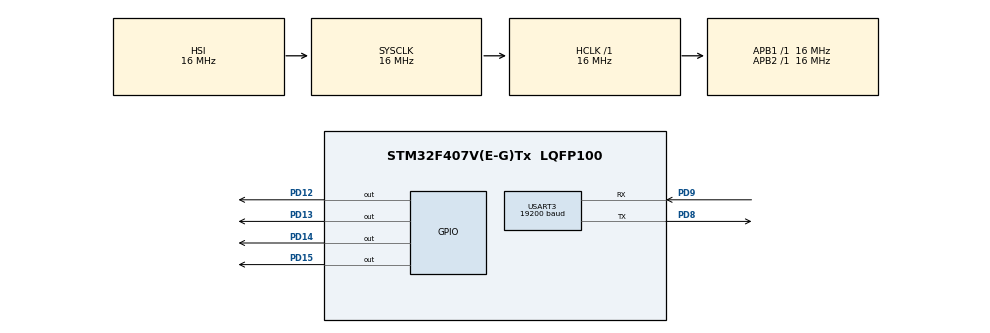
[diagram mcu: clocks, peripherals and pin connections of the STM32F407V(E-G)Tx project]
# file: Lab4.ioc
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Mcu.Family=STM32F4
Mcu.Name=STM32F407V(E-G)Tx
Mcu.Package=LQFP100
NVIC.PriorityGroup=NVIC_PRIORITYGROUP_4
PD12.Signal=GPIO_Output
PD13.Signal=GPIO_Output
PD14.Signal=GPIO_Output
PD15.Signal=GPIO_Output
PD8.Mode=Asynchronous
PD8.Signal=USART3_TX
PD9.Mode=Asynchronous
PD9.Signal=USART3_RX
ProjectManager.HeapSize=0x200
ProjectManager.StackSize=0x400
ProjectManager.TargetToolchain=STM32CubeIDE
RCC.AHBFreq_Value=16000000
RCC.APB1Freq_Value=16000000
RCC.APB2Freq_Value=16000000
RCC.CortexFreq_Value=16000000
RCC.HSE_VALUE=25000000
RCC.HSI_VALUE=16000000
RCC.LSE_VALUE=32768
RCC.SYSCLKFreq_VALUE=16000000
RCC.VCOOutputFreq_Value=192000000
USART3.BaudRate=19200
USART3.VirtualMode=VM_ASYNC
board=custom

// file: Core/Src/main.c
/* USER CODE BEGIN Header */
/**
  ******************************************************************************
  * @file           : main.c
  * @brief          : Main program body
  ******************************************************************************
  * @attention
  *
  * Copyright (c) 2024 STMicroelectronics.
  * All rights reserved.
  *
  * This software is licensed under terms that can be found in the LICENSE file
  * in the root directory of this software component.
  * If no LICENSE file comes with this software, it is provided AS-IS.
  *
  ******************************************************************************
  */
/* USER CODE END Header */
#include "main.h"

UART_HandleTypeDef huart3;

void SystemClock_Config(void);
static void MX_GPIO_Init(void);
static void MX_USART3_UART_Init(void);

int main(void)
{

  /* MCU Configuration--------------------------------------------------------*/

  /* Reset of all peripherals, Initializes the Flash interface and the Systick. */
  HAL_Init();

  /* Configure the system clock */
  SystemClock_Config();

  /* Initialize all configured peripherals */
  MX_GPIO_Init();
  MX_USART3_UART_Init();

  /* Infinite loop */
  /* USER CODE BEGIN WHILE */
  while (1)
  {
	  uint8_t buffer[1];
	  HAL_StatusTypeDef result;
	  result = HAL_UART_Receive(&huart3, buffer, 1, 10);
	  if (result == HAL_OK) {
		  GPIO_PinState state;
		  switch (buffer[0]){
			  case '1':
				  state = HAL_GPIO_ReadPin(GPIOD, GPIO_PIN_12);
				  if (state == GPIO_PIN_RESET) {
					  HAL_GPIO_WritePin(GPIOD, GPIO_PIN_12, GPIO_PIN_SET);
					  HAL_UART_Transmit(&huart3, (uint8_t *)" - green +\r\n", 12, 100);
				  } else {
					  HAL_GPIO_WritePin(GPIOD, GPIO_PIN_12, GPIO_PIN_RESET);
					  HAL_UART_Transmit(&huart3, (uint8_t *)" - green -\r\n", 12, 100);
				  }
				  break;
			  case '2':
				  state = HAL_GPIO_ReadPin(GPIOD, GPIO_PIN_13);
				  if (state == GPIO_PIN_RESET) {
					  HAL_GPIO_WritePin(GPIOD, GPIO_PIN_13, GPIO_PIN_SET);
					  HAL_UART_Transmit(&huart3, (uint8_t *)" - orange +\r\n", 13, 100);
				  } else {
					  HAL_GPIO_WritePin(GPIOD, GPIO_PIN_13, GPIO_PIN_RESET);
					  HAL_UART_Transmit(&huart3, (uint8_t *)" - orange -\r\n", 13, 100);
				  }
				  break;
			  case '3':
				  state = HAL_GPIO_ReadPin(GPIOD, GPIO_PIN_14);
				  if (state == GPIO_PIN_RESET) {
					  HAL_GPIO_WritePin(GPIOD, GPIO_PIN_14, GPIO_PIN_SET);
					  HAL_UART_Transmit(&huart3, (uint8_t *)" - red +\r\n", 10, 100);
				  } else {
					  HAL_GPIO_WritePin(GPIOD, GPIO_PIN_14, GPIO_PIN_RESET);
					  HAL_UART_Transmit(&huart3, (uint8_t *)" - red -\r\n", 10, 100);
				  }
				  break;
			  case '4':
				  state = HAL_GPIO_ReadPin(GPIOD, GPIO_PIN_15);
				  if (state == GPIO_PIN_RESET) {
					  HAL_GPIO_WritePin(GPIOD, GPIO_PIN_15, GPIO_PIN_SET);
					  HAL_UART_Transmit(&huart3, (uint8_t *)" - blue +\r\n", 11, 100);
				  } else {
					  HAL_GPIO_WritePin(GPIOD, GPIO_PIN_15, GPIO_PIN_RESET);
					  HAL_UART_Transmit(&huart3, (uint8_t *)" - blue -\r\n", 11, 100);
				  }
				  break;
			  case '5':
				  HAL_GPIO_WritePin(GPIOD, GPIO_PIN_12, GPIO_PIN_SET);
				  HAL_GPIO_WritePin(GPIOD, GPIO_PIN_13, GPIO_PIN_SET);
				  HAL_GPIO_WritePin(GPIOD, GPIO_PIN_14, GPIO_PIN_SET);
				  HAL_GPIO_WritePin(GPIOD, GPIO_PIN_15, GPIO_PIN_SET);
				  HAL_UART_Transmit(&huart3, (uint8_t *)" - all +\r\n", 10, 100);
				  break;
			  case '6':
				  HAL_GPIO_WritePin(GPIOD, GPIO_PIN_12, GPIO_PIN_RESET);
				  HAL_GPIO_WritePin(GPIOD, GPIO_PIN_13, GPIO_PIN_RESET);
				  HAL_GPIO_WritePin(GPIOD, GPIO_PIN_14, GPIO_PIN_RESET);
				  HAL_GPIO_WritePin(GPIOD, GPIO_PIN_15, GPIO_PIN_RESET);
				  HAL_UART_Transmit(&huart3, (uint8_t *)" - all -\r\n", 10, 100);
				  break;
			  default:
				  HAL_UART_Transmit(&huart3, (uint8_t *)" - unknown\r\n", 12, 100);
				  break;
		  }
	  }
    /* USER CODE END WHILE */

  }
}

void SystemClock_Config(void)
{
  RCC_OscInitTypeDef RCC_OscInitStruct = {0};
  RCC_ClkInitTypeDef RCC_ClkInitStruct = {0};

  /** Configure the main internal regulator output voltage
  */
  __HAL_RCC_PWR_CLK_ENABLE();
  __HAL_PWR_VOLTAGESCALING_CONFIG(PWR_REGULATOR_VOLTAGE_SCALE1);

  /** Initializes the RCC Oscillators according to the specified parameters
  * in the RCC_OscInitTypeDef structure.
  */
  RCC_OscInitStruct.OscillatorType = RCC_OSCILLATORTYPE_HSI;
  RCC_OscInitStruct.HSIState = RCC_HSI_ON;
  RCC_OscInitStruct.HSICalibrationValue = RCC_HSICALIBRATION_DEFAULT;
  RCC_OscInitStruct.PLL.PLLState = RCC_PLL_NONE;
  if (HAL_RCC_OscConfig(&RCC_OscInitStruct) != HAL_OK)
  {
    Error_Handler();
  }

  /** Initializes the CPU, AHB and APB buses clocks
  */
  RCC_ClkInitStruct.ClockType = RCC_CLOCKTYPE_HCLK|RCC_CLOCKTYPE_SYSCLK
                              |RCC_CLOCKTYPE_PCLK1|RCC_CLOCKTYPE_PCLK2;
  RCC_ClkInitStruct.SYSCLKSource = RCC_SYSCLKSOURCE_HSI;
  RCC_ClkInitStruct.AHBCLKDivider = RCC_SYSCLK_DIV1;
  RCC_ClkInitStruct.APB1CLKDivider = RCC_HCLK_DIV1;
  RCC_ClkInitStruct.APB2CLKDivider = RCC_HCLK_DIV1;

  if (HAL_RCC_ClockConfig(&RCC_ClkInitStruct, FLASH_LATENCY_0) != HAL_OK)
  {
    Error_Handler();
  }
}

static void MX_USART3_UART_Init(void)
{

  huart3.Instance = USART3;
  huart3.Init.BaudRate = 19200;
  huart3.Init.WordLength = UART_WORDLENGTH_8B;
  huart3.Init.StopBits = UART_STOPBITS_1;
  huart3.Init.Parity = UART_PARITY_NONE;
  huart3.Init.Mode = UART_MODE_TX_RX;
  huart3.Init.HwFlowCtl = UART_HWCONTROL_NONE;
  huart3.Init.OverSampling = UART_OVERSAMPLING_16;
  if (HAL_UART_Init(&huart3) != HAL_OK)
  {
    Error_Handler();
  }

}

static void MX_GPIO_Init(void)
{
  GPIO_InitTypeDef GPIO_InitStruct = {0};

  /* GPIO Ports Clock Enable */
  __HAL_RCC_GPIOD_CLK_ENABLE();

  /*Configure GPIO pin Output Level */
  HAL_GPIO_WritePin(GPIOD, GPIO_PIN_12|GPIO_PIN_13|GPIO_PIN_14|GPIO_PIN_15, GPIO_PIN_RESET);

  /*Configure GPIO pins : PD12 PD13 PD14 PD15 */
  GPIO_InitStruct.Pin = GPIO_PIN_12|GPIO_PIN_13|GPIO_PIN_14|GPIO_PIN_15;
  GPIO_InitStruct.Mode = GPIO_MODE_OUTPUT_PP;
  GPIO_InitStruct.Pull = GPIO_NOPULL;
  GPIO_InitStruct.Speed = GPIO_SPEED_FREQ_LOW;
  HAL_GPIO_Init(GPIOD, &GPIO_InitStruct);

}

void Error_Handler(void)
{
  __disable_irq();
  while (1)
  {
  }
}
